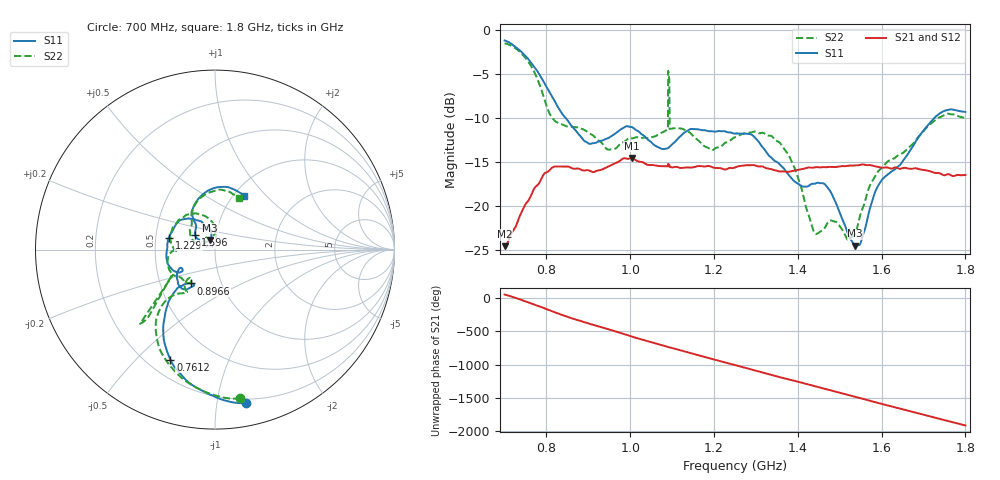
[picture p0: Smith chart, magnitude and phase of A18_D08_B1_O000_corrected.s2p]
! Created with skrf 1.9.0 (http://scikit-rf.org).
# Hz S RI R 50.0
!freq ReS11 ImS11 ReS21 ImS21 ReS12 ImS12 ReS22 ImS22
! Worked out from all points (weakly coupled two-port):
!   1601 points, 700 MHz to 1.8 GHz, reference 50 ohm
!   highest |S21| = -14.52 dB at 1.004 GHz (marker M1); lowest = -24.5 dB at 700.7 MHz (marker M2)
!   lowest |S11| = -24.5 dB at 1.537 GHz (marker M3), VSWR 1.13, Z = 47.1 + j5.06 ohm
!   |S11| at or under -10 dB: 846.2 MHz to 1.725 GHz (879.2 MHz wide, 68.4 % of centre)
!   |S22| runs from -23.8 to -1.5 dB; largest |S21 - S12| = 0.0036
!   S11 on the Smith chart (normalised r, x): 700 MHz: 0.17, -1.21; 761.2 MHz: 0.29, -0.63; 896.6 MHz: 0.72, -0.29; 1.229 GHz: 0.59, +0.08; 1.596 GHz: 0.79, +0.13; 1.8 GHz: 1.12, +0.76
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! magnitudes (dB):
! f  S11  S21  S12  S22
! 700 MHz  -1.2  -24.5  -24.3  -1.5
! 700.7 MHz  -1.2  -24.5  -24.2  -1.5
! 761.2 MHz  -3.6  -19.0  -18.9  -3.9
! 815.5 MHz  -7.7  -15.6  -15.6  -10.1
! 883.6 MHz  -12.2  -15.9  -15.8  -11.2
! 896.6 MHz  -12.7  -15.9  -16.0  -11.5
! 948.9 MHz  -12.2  -15.4  -15.5  -13.6
! 1.004 GHz  -11.0  -14.5  -14.7  -12.3
! 1.067 GHz  -13.3  -15.4  -15.4  -11.8
! 1.096 GHz  -13.1  -15.5  -15.6  -11.2
! 1.099 GHz  -13.0  -15.6  -15.5  -11.2
! 1.19 GHz  -11.5  -15.4  -15.5  -13.5
! 1.229 GHz  -11.5  -15.8  -15.7  -12.7
! 1.25 GHz  -11.7  -15.6  -15.5  -12.2
! 1.359 GHz  -15.3  -16.0  -16.0  -12.9
! 1.434 GHz  -17.4  -15.6  -15.6  -22.2
! 1.474 GHz  -18.1  -15.5  -15.5  -21.7
! 1.537 GHz  -24.5  -15.4  -15.4  -23.2
! 1.596 GHz  -17.3  -15.6  -15.6  -15.8
! 1.617 GHz  -16.3  -15.6  -15.6  -14.8
! 1.734 GHz  -9.6  -16.2  -16.3  -10.0
! 1.8 GHz  -9.3  -16.4  -16.4  -10.0
